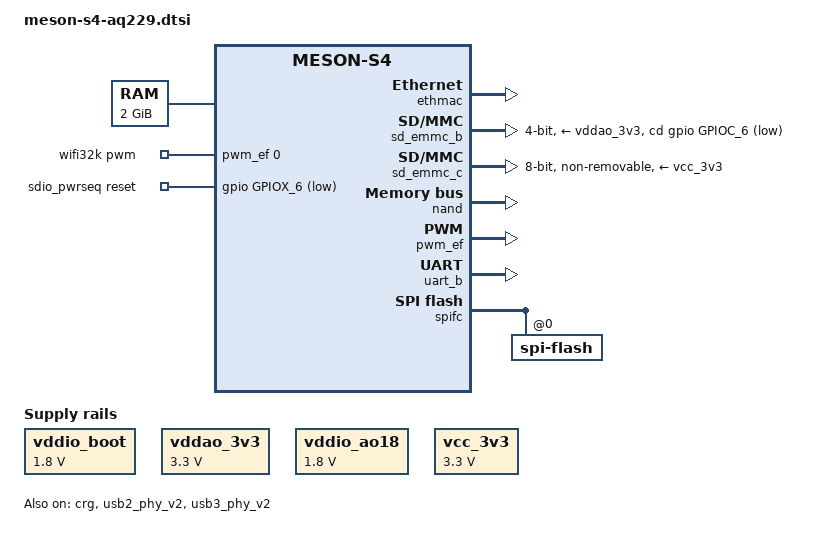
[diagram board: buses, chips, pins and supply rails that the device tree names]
/* SPDX-License-Identifier: (GPL-2.0+ OR MIT) */
/*
 * Copyright (c) 2016 Martin Blumenstingl <martin.blumenstingl@googlemail.com>.
 * Based on meson-gx-p23x-q20x.dtsi:
 * - Copyright (c) 2016 Endless Computers, Inc.
 *   Author: Carlo Caione <carlo@endlessm.com>
 * - Copyright (c) 2016 BayLibre, SAS.
 *   Author: Neil Armstrong <narmstrong@baylibre.com>
 */

/* Common DTSI for devices which are based on the P212 reference board. */

#include "meson-s4-txxx.dtsi"

/ {
	aliases {
		serial0 = &uart_a;
		serial1 = &uart_b;
		spi0 = &spifc;
		spi1 = &spicc0;
		i2c0 = &i2c0;
		i2c1 = &i2c1;
		i2c2 = &i2c2;
		i2c3 = &i2c3;
		i2c4 = &i2c4;
	};

	chosen {
		stdout-path = "serial1:115200n8";
	};

	memory@0 {
		device_type = "memory";
		reg = <0x0 0x0 0x0 0x80000000>;
	};

	vddio_boot: regulator-vddio_boot {
		compatible = "regulator-fixed";
		regulator-name = "VDDIO_BOOT";
		regulator-min-microvolt = <1800000>;
		regulator-max-microvolt = <1800000>;
	};

	vddao_3v3: regulator-vddao_3v3 {
		compatible = "regulator-fixed";
		regulator-name = "VDDAO_3V3";
		regulator-min-microvolt = <3300000>;
		regulator-max-microvolt = <3300000>;
	};

	vddio_ao18: regulator-vddio_ao18 {
		compatible = "regulator-fixed";
		regulator-name = "VDDIO_AO18";
		regulator-min-microvolt = <1800000>;
		regulator-max-microvolt = <1800000>;
	};

	vcc_3v3: regulator-vcc_3v3 {
		compatible = "regulator-fixed";
		regulator-name = "VCC_3V3";
		regulator-min-microvolt = <3300000>;
		regulator-max-microvolt = <3300000>;
	};

	emmc_pwrseq: emmc-pwrseq {
		compatible = "mmc-pwrseq-emmc";
		/*reset-gpios = <&gpio BOOT_9 GPIO_ACTIVE_LOW>;*/
	};

	wifi32k: wifi32k {
		compatible = "pwm-clock";
		#clock-cells = <0>;
		clock-frequency = <32768>;
		pwms = <&pwm_ef 0 30518 0>; /* PWM_E at 32.768KHz */
	};

	sdio_pwrseq: sdio-pwrseq {
		compatible = "mmc-pwrseq-simple";
		reset-gpios = <&gpio GPIOX_6 GPIO_ACTIVE_LOW>;
		clocks = <&wifi32k>;
		clock-names = "ext_clock";
	};

	tee: tee {
		compatible = "linaro,optee-tz";
		method = "smc";
	};

	amhdmitx {
		compatible = "amlogic, amhdmitx-s4";
		status = "okay";
		res_1080p = <1>;
	};
};

&vpu {
	clk_level = <5>;
};

&ethmac {
	status = "okay";
	internal_phy = <1>;
	mc_val = <0x4be04>;
	/*mc_val = <0x1621>;*/
};

&ir {
	status = "disabled";
	/* pinctrl-0 = <&remote_input_ao_pins>; */
	/* pinctrl-names = "default"; */
};

&saradc {
	status = "disabled";
	vref-supply = <&vddio_ao18>;
};

/* Wireless SDIO Module */
&sd_emmc_a {
	status = "disabled";
	/*pinctrl-0 = <&sdio_pins>;*/
	/*pinctrl-names = "default";*/
	#address-cells = <1>;
	#size-cells = <0>;

	bus-width = <4>;
	cap-sd-highspeed;
	max-frequency = <100000000>;

	non-removable;
	disable-wp;
	card_type = <3>;

	mmc-pwrseq = <&sdio_pwrseq>;

	vmmc-supply = <&vddao_3v3>;
	vqmmc-supply = <&vddio_boot>;
};

/* SD card */
&sd_emmc_b {
	status = "okay";
	pinctrl-0 = <&sdcard_pins>;
	pinctrl-1 = <&sdcard_pins &to_sduart_pins>;
	pinctrl-names = "sd_all_pins", "sd_uart";

	bus-width = <4>;
	cap-sd-highspeed;
	max-frequency = <100000000>;
	disable-wp;

	cd-gpios = <&gpio GPIOC_6 GPIO_ACTIVE_HIGH>;
	cd-inverted;

	card_type = <5>;

	init_co_phase = <2>;
	init_tx_phase = <0>;

	sd_hs_co_phase = <2>;
	sd_hs_to_phase = <0>;

	vmmc-supply = <&vddao_3v3>;
	vqmmc-supply = <&vddio_boot>;
};

/* eMMC */
&sd_emmc_c {
	status = "okay";
	pinctrl-0 = <&emmc_pins>;
	pinctrl-names = "default";

	bus-width = <8>;
	cap-mmc-highspeed;
	mmc-hs200-1_8v;
	max-frequency = <200000000>;
	non-removable;
	disable-wp;
	/* mmc-ddr-1_8v; */
	card_type = <1>;

	init_co_phase = <2>;
	init_tx_phase = <0>;

	hs_co_phase = <2>;
	hs_to_phase = <0>;

	hs2_co_phase = <2>;
	hs2_to_phase = <0>;

	hw_reset = <&gpio GPIOB_9 GPIO_ACTIVE_HIGH>;

	mmc-pwrseq = <&emmc_pwrseq>;
	vmmc-supply = <&vcc_3v3>;
	vqmmc-supply = <&vddio_boot>;
};

/* nand */
&nand {
	status = "okay";
	pinctrl-names = "default", "nand_cs_only";
	pinctrl-0 = <&all_nand_pins>;
	pinctrl-1 = <&nand_cs_pins>;
};

&crg {
        status = "okay";
        dr_mode = "host";
};

&usb2_phy_v2 {
        status = "okay";
        portnum = <2>;
};

&usb3_phy_v2 {
        status = "okay";
        portnum = <0>;
        gpio-vbus-power = "GPIOD_3";
        gpios = <&gpio GPIOD_3 GPIO_ACTIVE_HIGH>;
};

&pwm_ef {
	status = "okay";
	/* pinctrl-0 = <&pwm_e_pins>; */
	/* pinctrl-names = "default"; */
};

/* This is connected to the Bluetooth module: */
&uart_b {
	status = "okay";
	/* pinctrl-0 = <&a_uart_pins>; */
	/* pinctrl-names = "default";  */
	uart-has-rtscts;
};

&spifc {
	status = "okay";
	cs-gpios = <&gpio GPIOB_13 GPIO_ACTIVE_HIGH>;
	spi-flash@0 {
		status = "okay";
	};
};

&spicc0 {
	status = "disabled";
	pinctrl-names = "default";
	pinctrl-0 = <&spicc0_pins_x>;
	cs-gpios = <&gpio GPIOX_10 0>;
};

